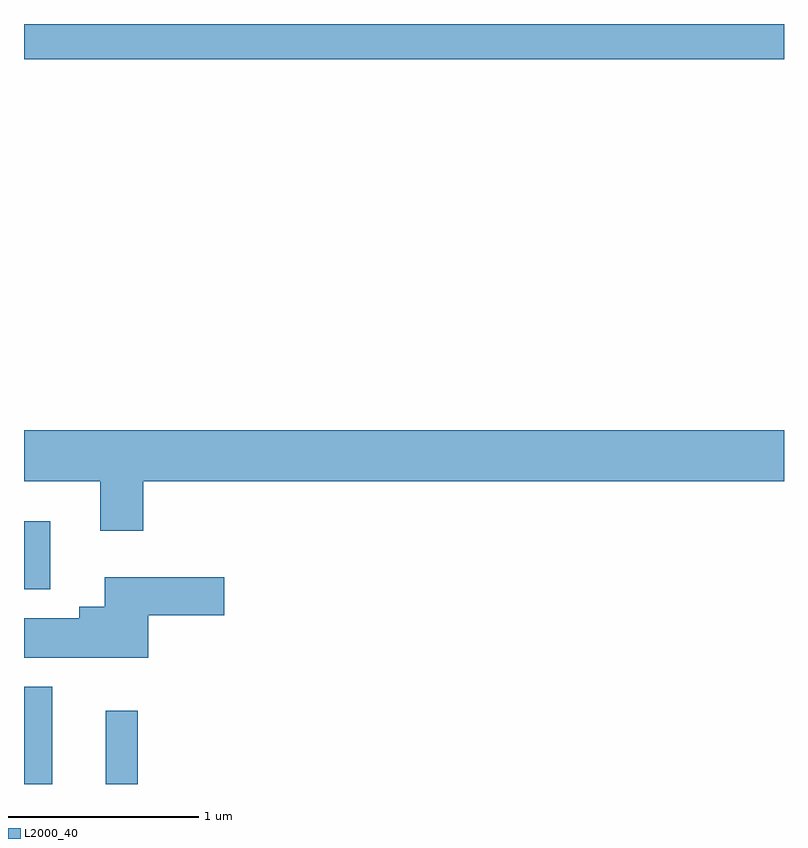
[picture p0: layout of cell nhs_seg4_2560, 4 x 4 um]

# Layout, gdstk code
import gdstk
lib = gdstk.Library(unit=1e-6, precision=1e-09)
def R(c, l, rs):  # rectangles x0, y0, x1, y1
    for r in rs: c.add(gdstk.rectangle(r[:2], r[2:], *l))
def P(c, l, *ps):  # polygons
    for p in ps: c.add(gdstk.Polygon(p, *l))
L2000_40 = (2000, 40)

nhs_seg4_2560 = lib.new_cell('nhs_seg4_2560')
R(nhs_seg4_2560, L2000_40, [(259.611,1341.982,259.759,1342.494), (260.041,1341.982,260.209,1342.368), (259.611,1343.006,259.749,1343.364), (259.611,1345.796,263.611,1345.982)])
P(nhs_seg4_2560, L2000_40, [(260.239,1343.576),(263.611,1343.576),(263.611,1343.844),(259.611,1343.844),(259.611,1343.576),(260.011,1343.576),(260.011,1343.316),(260.239,1343.316)],
  [(260.264,1342.871),(260.664,1342.871),(260.664,1343.069),(260.036,1343.069),(260.036,1342.914),(259.901,1342.914),(259.901,1342.854),(259.611,1342.854),(259.611,1342.646),(260.264,1342.646)])

lib.write_gds('nhs_seg4_2560.gds')
